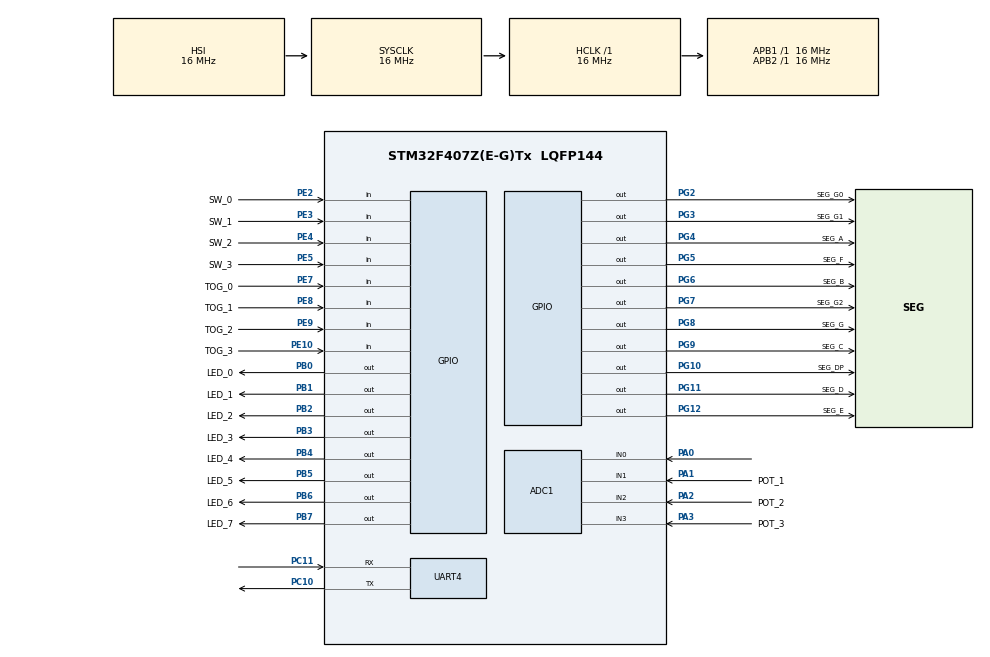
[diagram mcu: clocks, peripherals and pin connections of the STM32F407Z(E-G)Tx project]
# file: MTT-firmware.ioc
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ADC1.Channel-0\#ChannelRegularConversion=ADC_CHANNEL_0
ADC1.Channel-1\#ChannelRegularConversion=ADC_CHANNEL_1
ADC1.Channel-2\#ChannelRegularConversion=ADC_CHANNEL_2
ADC1.Channel-3\#ChannelRegularConversion=ADC_CHANNEL_3
ADC1.NbrOfConversion=4
ADC1.NbrOfConversionFlag=1
ADC1.Rank-0\#ChannelRegularConversion=1
ADC1.Rank-1\#ChannelRegularConversion=2
ADC1.Rank-2\#ChannelRegularConversion=3
ADC1.Rank-3\#ChannelRegularConversion=4
ADC1.SamplingTime-0\#ChannelRegularConversion=ADC_SAMPLETIME_3CYCLES
ADC1.SamplingTime-1\#ChannelRegularConversion=ADC_SAMPLETIME_3CYCLES
ADC1.SamplingTime-2\#ChannelRegularConversion=ADC_SAMPLETIME_3CYCLES
ADC1.SamplingTime-3\#ChannelRegularConversion=ADC_SAMPLETIME_3CYCLES
ADC1.ScanConvMode=ENABLE
ADC1.master=1
Dma.ADC1.0.Direction=DMA_PERIPH_TO_MEMORY
Dma.ADC1.0.FIFOMode=DMA_FIFOMODE_DISABLE
Dma.ADC1.0.Instance=DMA2_Stream0
Dma.ADC1.0.MemDataAlignment=DMA_MDATAALIGN_HALFWORD
Dma.ADC1.0.MemInc=DMA_MINC_ENABLE
Dma.ADC1.0.Mode=DMA_NORMAL
Dma.ADC1.0.PeriphDataAlignment=DMA_PDATAALIGN_HALFWORD
Dma.ADC1.0.PeriphInc=DMA_PINC_DISABLE
Dma.ADC1.0.Priority=DMA_PRIORITY_LOW
Dma.Request0=ADC1
Mcu.Family=STM32F4
Mcu.Name=STM32F407Z(E-G)Tx
Mcu.Package=LQFP144
NVIC.DMA2_Stream0_IRQn=true\:0\:0\:false\:false\:true\:false\:true\:true
NVIC.PriorityGroup=NVIC_PRIORITYGROUP_4
NVIC.UART4_IRQn=true\:0\:0\:false\:false\:true\:true\:true\:true
PA0-WKUP.Signal=ADCx_IN0
PA1.GPIO_Label=POT_1
PA1.Signal=ADCx_IN1
PA13.Mode=Serial_Wire
PA13.Signal=SYS_JTMS-SWDIO
PA14.Mode=Serial_Wire
PA14.Signal=SYS_JTCK-SWCLK
PA2.GPIO_Label=POT_2
PA2.Signal=ADCx_IN2
PA3.GPIO_Label=POT_3
PA3.Signal=ADCx_IN3
PB0.GPIO_Label=LED_0
PB0.Signal=GPIO_Output
PB1.GPIO_Label=LED_1
PB1.Signal=GPIO_Output
PB2.GPIO_Label=LED_2
PB2.Signal=GPIO_Output
PB3.GPIO_Label=LED_3
PB3.Signal=GPIO_Output
PB4.GPIO_Label=LED_4
PB4.Signal=GPIO_Output
PB5.GPIO_Label=LED_5
PB5.Signal=GPIO_Output
PB6.GPIO_Label=LED_6
PB6.Signal=GPIO_Output
PB7.GPIO_Label=LED_7
PB7.Signal=GPIO_Output
PC10.Mode=Asynchronous
PC10.Signal=UART4_TX
PC11.Mode=Asynchronous
PC11.Signal=UART4_RX
PE10.GPIO_Label=TOG_3
PE10.Signal=GPIO_Input
PE2.GPIO_Label=SW_0
PE2.GPIO_PuPd=GPIO_NOPULL
PE2.Signal=GPIO_Input
PE3.GPIO_Label=SW_1
PE3.Signal=GPIO_Input
PE4.GPIO_Label=SW_2
PE4.Signal=GPIO_Input
PE5.GPIO_Label=SW_3
PE5.Signal=GPIO_Input
PE7.GPIO_Label=TOG_0
PE7.Signal=GPIO_Input
PE8.GPIO_Label=TOG_1
PE8.Signal=GPIO_Input
PE9.GPIO_Label=TOG_2
PE9.Signal=GPIO_Input
PG10.GPIO_Label=SEG_DP
PG10.Signal=GPIO_Output
PG11.GPIO_Label=SEG_D
PG11.Signal=GPIO_Output
PG12.GPIO_Label=SEG_E
PG12.Signal=GPIO_Output
PG2.GPIO_Label=SEG_G0
PG2.Signal=GPIO_Output
PG3.GPIO_Label=SEG_G1
PG3.Signal=GPIO_Output
PG4.GPIO_Label=SEG_A
PG4.Signal=GPIO_Output
PG5.GPIO_Label=SEG_F
PG5.Signal=GPIO_Output
PG6.GPIO_Label=SEG_B
PG6.Signal=GPIO_Output
PG7.GPIO_Label=SEG_G2
PG7.Signal=GPIO_Output
PG8.GPIO_Label=SEG_G
PG8.Signal=GPIO_Output
PG9.GPIO_Label=SEG_C
PG9.Signal=GPIO_Output
PH0-OSC_IN.Mode=HSE-External-Oscillator
PH0-OSC_IN.Signal=RCC_OSC_IN
PH1-OSC_OUT.Mode=HSE-External-Oscillator
PH1-OSC_OUT.Signal=RCC_OSC_OUT
ProjectManager.HeapSize=0x200
ProjectManager.StackSize=0x400
ProjectManager.TargetToolchain=STM32CubeIDE
RCC.AHBFreq_Value=16000000
RCC.APB1Freq_Value=16000000
RCC.APB2Freq_Value=16000000
RCC.CortexFreq_Value=16000000
RCC.HSE_VALUE=25000000
RCC.HSI_VALUE=16000000
RCC.LSE_VALUE=32768
RCC.SYSCLKFreq_VALUE=16000000
RCC.VCOOutputFreq_Value=192000000
SH.ADCx_IN0.0=ADC1_IN0,IN0
SH.ADCx_IN0.1=ADC3_IN0
SH.ADCx_IN1.0=ADC1_IN1,IN1
SH.ADCx_IN2.0=ADC1_IN2,IN2
SH.ADCx_IN3.0=ADC1_IN3,IN3
UART4.VirtualMode=Asynchronous
board=custom

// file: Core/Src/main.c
/* USER CODE BEGIN Header */
/**
  ******************************************************************************
  * @file           : main.c
  * @brief          : Main program body
  ******************************************************************************
  * @attention
  *
  * Copyright (c) 2023 STMicroelectronics.
  * All rights reserved.
  *
  * This software is licensed under terms that can be found in the LICENSE file
  * in the root directory of this software component.
  * If no LICENSE file comes with this software, it is provided AS-IS.
  *
  ******************************************************************************
  */
/* USER CODE END Header */
#include "main.h"

/* USER CODE BEGIN Includes */
#include <string.h>
#include <stdio.h>
#include <stdbool.h>
/* USER CODE END Includes */

/* USER CODE BEGIN PTD */
typedef enum {
    WAITING_FOR_HEADER,
	WAITING_FOR_DATA,
    RESPONDING
} fsm;
/* USER CODE END PTD */

/* USER CODE BEGIN PD */
#define DATA_LEN 3
/* USER CODE END PD */

ADC_HandleTypeDef hadc1;
DMA_HandleTypeDef hdma_adc1;

UART_HandleTypeDef huart4;

/* USER CODE BEGIN PV */
volatile uint16_t pot_values[4];
volatile bool switch_states[8];
volatile bool LED_states[8];
volatile bool SEG_states[11];
const uint8_t adcChannelCount = 4;
const uint8_t header = 0xaa;
uint8_t UART4_rxBuffer[DATA_LEN] = {0};
char message[] = "Transmission\r\n"; /* Message to be transmitted through UART */

fsm state = WAITING_FOR_HEADER;

uint8_t cmd_id = 0x00;

/* USER CODE END PV */

void SystemClock_Config(void);
static void MX_GPIO_Init(void);
static void MX_DMA_Init(void);
static void MX_ADC1_Init(void);
static void MX_UART4_Init(void);

int main(void)
{

  /* MCU Configuration--------------------------------------------------------*/

  /* Reset of all peripherals, Initializes the Flash interface and the Systick. */
  HAL_Init();

  /* Configure the system clock */
  SystemClock_Config();

  /* Initialize all configured peripherals */
  MX_GPIO_Init();
  MX_DMA_Init();
  MX_ADC1_Init();
  MX_UART4_Init();
  /* USER CODE BEGIN 2 */
  HAL_UART_Transmit(&huart4, (uint8_t *)message, strlen(message), 10);
  HAL_UART_Receive_IT(&huart4, UART4_rxBuffer, 1);
  /* USER CODE END 2 */

  /* Infinite loop */
  /* USER CODE BEGIN WHILE */
  while (1)
  {
	HAL_ADC_Start_DMA(&hadc1, (uint32_t *)pot_values, adcChannelCount);
	// Get toggle states
	switch_states[0] = HAL_GPIO_ReadPin(TOG_0_GPIO_Port, TOG_0_Pin);
	switch_states[1] = HAL_GPIO_ReadPin(TOG_1_GPIO_Port, TOG_1_Pin);
	switch_states[2] = HAL_GPIO_ReadPin(TOG_2_GPIO_Port, TOG_2_Pin);
	switch_states[3] = HAL_GPIO_ReadPin(TOG_3_GPIO_Port, TOG_3_Pin);
	// Get button states (inverted because normally high)
	switch_states[4] = !HAL_GPIO_ReadPin(SW_0_GPIO_Port, SW_0_Pin);
	switch_states[5] = !HAL_GPIO_ReadPin(SW_1_GPIO_Port, SW_1_Pin);
	switch_states[6] = !HAL_GPIO_ReadPin(SW_2_GPIO_Port, SW_2_Pin);
	switch_states[7] = !HAL_GPIO_ReadPin(SW_3_GPIO_Port, SW_3_Pin);
	// Update LED states
	HAL_GPIO_WritePin(LED_0_GPIO_Port, LED_0_Pin, LED_states[0]);
	HAL_GPIO_WritePin(LED_1_GPIO_Port, LED_1_Pin, LED_states[1]);
	HAL_GPIO_WritePin(LED_2_GPIO_Port, LED_2_Pin, LED_states[2]);
	HAL_GPIO_WritePin(LED_3_GPIO_Port, LED_3_Pin, LED_states[3]);
	HAL_GPIO_WritePin(LED_4_GPIO_Port, LED_4_Pin, LED_states[4]);
	HAL_GPIO_WritePin(LED_5_GPIO_Port, LED_5_Pin, LED_states[5]);
	HAL_GPIO_WritePin(LED_6_GPIO_Port, LED_6_Pin, LED_states[6]);
	HAL_GPIO_WritePin(LED_7_GPIO_Port, LED_7_Pin, LED_states[7]);
	// Update Segment Display states
	HAL_GPIO_WritePin(SEG_G0_GPIO_Port, SEG_G0_Pin, SEG_states[0]);
	HAL_GPIO_WritePin(SEG_G1_GPIO_Port, SEG_G1_Pin, SEG_states[1]);
	HAL_GPIO_WritePin(SEG_G2_GPIO_Port, SEG_G2_Pin, SEG_states[2]);
	HAL_GPIO_WritePin(SEG_A_GPIO_Port, SEG_A_Pin, SEG_states[3]);
	HAL_GPIO_WritePin(SEG_B_GPIO_Port, SEG_B_Pin, SEG_states[4]);
	HAL_GPIO_WritePin(SEG_C_GPIO_Port, SEG_C_Pin, SEG_states[5]);
	HAL_GPIO_WritePin(SEG_D_GPIO_Port, SEG_D_Pin, SEG_states[6]);
	HAL_GPIO_WritePin(SEG_E_GPIO_Port, SEG_E_Pin, SEG_states[7]);
	HAL_GPIO_WritePin(SEG_F_GPIO_Port, SEG_F_Pin, SEG_states[8]);
	HAL_GPIO_WritePin(SEG_G_GPIO_Port, SEG_G_Pin, SEG_states[9]);
	HAL_GPIO_WritePin(SEG_DP_GPIO_Port, SEG_DP_Pin, SEG_states[10]);
	// Test transmit
	// sprintf(buffer, "P0=%d\tP1=%d\tP2=%d\tP3=%d\t", potValues[0], potValues[1], potValues[2], potValues[3]);
	// HAL_UART_Transmit(&huart4, (uint8_t *)buffer, strlen(buffer), 10);
	// sprintf(buffer, "T0=%d\tT1=%d\tT2=%d\tT3=%d\t", toggleStates[0], toggleStates[1], toggleStates[2], toggleStates[3]);
	// HAL_UART_Transmit(&huart4, (uint8_t *)buffer, strlen(buffer), 10);
	// sprintf(buffer, "B0=%d\tB1=%d\tB2=%d\tB3=%d\r\n", buttonStates[0], buttonStates[1], buttonStates[2], buttonStates[3]);
	// HAL_UART_Transmit(&huart4, (uint8_t *)buffer, strlen(buffer), 10);
//	HAL_UART_Transmit(&huart4, (uint8_t *)&header, sizeof(header), 10);
//	HAL_UART_Transmit(&huart4, (uint8_t *)&potValues, sizeof(potValues), 10);
//	HAL_UART_Transmit(&huart4, (uint8_t *)&toggleStates, sizeof(toggleStates), 10);
//	HAL_UART_Transmit(&huart4, (uint8_t *)&buttonStates, sizeof(buttonStates), 10);

	switch(state) {
	case RESPONDING: // handle command
		// handle received data
		for (int i = 7; i >= 0; i--) {
			LED_states[i] = (UART4_rxBuffer[0] >> i) & 1;
		}
		for (int i = 7; i >= 0; i--) {
			SEG_states[i] = (UART4_rxBuffer[1] >> i) & 1;
		}
		for (int i = 2; i >= 0; i--) {
			SEG_states[i+8] = (UART4_rxBuffer[2] >> i) & 1;
		}
		// convert switch bools to unit8_t
		uint8_t switch_states_uint8 = 0;
		for (int i = 0; i < 8; i++) {
			if (switch_states[i]) {
				switch_states_uint8 |= (1 << i);
			}
		}
		// send reply
		HAL_UART_Transmit(&huart4, (uint8_t *)&header, sizeof(header), 10);
		HAL_UART_Transmit(&huart4, (uint8_t *)&pot_values, sizeof(pot_values), 10);
		HAL_UART_Transmit(&huart4, (uint8_t *)&switch_states_uint8, sizeof(switch_states_uint8), 10);
		// enable Rx callback
		state = WAITING_FOR_HEADER;
		HAL_UART_Receive_IT(&huart4, UART4_rxBuffer, 1);
		break;
	default:
		break;
	}
    /* USER CODE END WHILE */

  }
}

void SystemClock_Config(void)
{
  RCC_OscInitTypeDef RCC_OscInitStruct = {0};
  RCC_ClkInitTypeDef RCC_ClkInitStruct = {0};

  /** Configure the main internal regulator output voltage
  */
  __HAL_RCC_PWR_CLK_ENABLE();
  __HAL_PWR_VOLTAGESCALING_CONFIG(PWR_REGULATOR_VOLTAGE_SCALE1);

  /** Initializes the RCC Oscillators according to the specified parameters
  * in the RCC_OscInitTypeDef structure.
  */
  RCC_OscInitStruct.OscillatorType = RCC_OSCILLATORTYPE_HSI;
  RCC_OscInitStruct.HSIState = RCC_HSI_ON;
  RCC_OscInitStruct.HSICalibrationValue = RCC_HSICALIBRATION_DEFAULT;
  RCC_OscInitStruct.PLL.PLLState = RCC_PLL_NONE;
  if (HAL_RCC_OscConfig(&RCC_OscInitStruct) != HAL_OK)
  {
    Error_Handler();
  }

  /** Initializes the CPU, AHB and APB buses clocks
  */
  RCC_ClkInitStruct.ClockType = RCC_CLOCKTYPE_HCLK|RCC_CLOCKTYPE_SYSCLK
                              |RCC_CLOCKTYPE_PCLK1|RCC_CLOCKTYPE_PCLK2;
  RCC_ClkInitStruct.SYSCLKSource = RCC_SYSCLKSOURCE_HSI;
  RCC_ClkInitStruct.AHBCLKDivider = RCC_SYSCLK_DIV1;
  RCC_ClkInitStruct.APB1CLKDivider = RCC_HCLK_DIV1;
  RCC_ClkInitStruct.APB2CLKDivider = RCC_HCLK_DIV1;

  if (HAL_RCC_ClockConfig(&RCC_ClkInitStruct, FLASH_LATENCY_0) != HAL_OK)
  {
    Error_Handler();
  }
}

static void MX_ADC1_Init(void)
{

  ADC_ChannelConfTypeDef sConfig = {0};

  /** Configure the global features of the ADC (Clock, Resolution, Data Alignment and number of conversion)
  */
  hadc1.Instance = ADC1;
  hadc1.Init.ClockPrescaler = ADC_CLOCK_SYNC_PCLK_DIV2;
  hadc1.Init.Resolution = ADC_RESOLUTION_12B;
  hadc1.Init.ScanConvMode = ENABLE;
  hadc1.Init.ContinuousConvMode = DISABLE;
  hadc1.Init.DiscontinuousConvMode = DISABLE;
  hadc1.Init.ExternalTrigConvEdge = ADC_EXTERNALTRIGCONVEDGE_NONE;
  hadc1.Init.ExternalTrigConv = ADC_SOFTWARE_START;
  hadc1.Init.DataAlign = ADC_DATAALIGN_RIGHT;
  hadc1.Init.NbrOfConversion = 4;
  hadc1.Init.DMAContinuousRequests = DISABLE;
  hadc1.Init.EOCSelection = ADC_EOC_SINGLE_CONV;
  if (HAL_ADC_Init(&hadc1) != HAL_OK)
  {
    Error_Handler();
  }

  /** Configure for the selected ADC regular channel its corresponding rank in the sequencer and its sample time.
  */
  sConfig.Channel = ADC_CHANNEL_0;
  sConfig.Rank = 1;
  sConfig.SamplingTime = ADC_SAMPLETIME_3CYCLES;
  if (HAL_ADC_ConfigChannel(&hadc1, &sConfig) != HAL_OK)
  {
    Error_Handler();
  }

  /** Configure for the selected ADC regular channel its corresponding rank in the sequencer and its sample time.
  */
  sConfig.Channel = ADC_CHANNEL_1;
  sConfig.Rank = 2;
  if (HAL_ADC_ConfigChannel(&hadc1, &sConfig) != HAL_OK)
  {
    Error_Handler();
  }

  /** Configure for the selected ADC regular channel its corresponding rank in the sequencer and its sample time.
  */
  sConfig.Channel = ADC_CHANNEL_2;
  sConfig.Rank = 3;
  if (HAL_ADC_ConfigChannel(&hadc1, &sConfig) != HAL_OK)
  {
    Error_Handler();
  }

  /** Configure for the selected ADC regular channel its corresponding rank in the sequencer and its sample time.
  */
  sConfig.Channel = ADC_CHANNEL_3;
  sConfig.Rank = 4;
  if (HAL_ADC_ConfigChannel(&hadc1, &sConfig) != HAL_OK)
  {
    Error_Handler();
  }

}

static void MX_UART4_Init(void)
{

  huart4.Instance = UART4;
  huart4.Init.BaudRate = 115200;
  huart4.Init.WordLength = UART_WORDLENGTH_8B;
  huart4.Init.StopBits = UART_STOPBITS_1;
  huart4.Init.Parity = UART_PARITY_NONE;
  huart4.Init.Mode = UART_MODE_TX_RX;
  huart4.Init.HwFlowCtl = UART_HWCONTROL_NONE;
  huart4.Init.OverSampling = UART_OVERSAMPLING_16;
  if (HAL_UART_Init(&huart4) != HAL_OK)
  {
    Error_Handler();
  }

}

static void MX_DMA_Init(void)
{

  /* DMA controller clock enable */
  __HAL_RCC_DMA2_CLK_ENABLE();

  /* DMA interrupt init */
  /* DMA2_Stream0_IRQn interrupt configuration */
  HAL_NVIC_SetPriority(DMA2_Stream0_IRQn, 0, 0);
  HAL_NVIC_EnableIRQ(DMA2_Stream0_IRQn);

}

static void MX_GPIO_Init(void)
{
  GPIO_InitTypeDef GPIO_InitStruct = {0};

  /* GPIO Ports Clock Enable */
  __HAL_RCC_GPIOE_CLK_ENABLE();
  __HAL_RCC_GPIOH_CLK_ENABLE();
  __HAL_RCC_GPIOA_CLK_ENABLE();
  __HAL_RCC_GPIOB_CLK_ENABLE();
  __HAL_RCC_GPIOG_CLK_ENABLE();
  __HAL_RCC_GPIOC_CLK_ENABLE();

  /*Configure GPIO pin Output Level */
  HAL_GPIO_WritePin(GPIOB, LED_0_Pin|LED_1_Pin|LED_2_Pin|LED_3_Pin
                          |LED_4_Pin|LED_5_Pin|LED_6_Pin|LED_7_Pin, GPIO_PIN_RESET);

  /*Configure GPIO pin Output Level */
  HAL_GPIO_WritePin(GPIOG, SEG_G0_Pin|SEG_G1_Pin|SEG_A_Pin|SEG_F_Pin
                          |SEG_B_Pin|SEG_G2_Pin|SEG_G_Pin|SEG_C_Pin
                          |SEG_DP_Pin|SEG_D_Pin|SEG_E_Pin, GPIO_PIN_RESET);

  /*Configure GPIO pins : SW_0_Pin SW_1_Pin SW_2_Pin SW_3_Pin
                           TOG_0_Pin TOG_1_Pin TOG_2_Pin TOG_3_Pin */
  GPIO_InitStruct.Pin = SW_0_Pin|SW_1_Pin|SW_2_Pin|SW_3_Pin
                          |TOG_0_Pin|TOG_1_Pin|TOG_2_Pin|TOG_3_Pin;
  GPIO_InitStruct.Mode = GPIO_MODE_INPUT;
  GPIO_InitStruct.Pull = GPIO_NOPULL;
  HAL_GPIO_Init(GPIOE, &GPIO_InitStruct);

  /*Configure GPIO pin : PA0 */
  GPIO_InitStruct.Pin = GPIO_PIN_0;
  GPIO_InitStruct.Mode = GPIO_MODE_ANALOG;
  GPIO_InitStruct.Pull = GPIO_NOPULL;
  HAL_GPIO_Init(GPIOA, &GPIO_InitStruct);

  /*Configure GPIO pins : LED_0_Pin LED_1_Pin LED_2_Pin LED_3_Pin
                           LED_4_Pin LED_5_Pin LED_6_Pin LED_7_Pin */
  GPIO_InitStruct.Pin = LED_0_Pin|LED_1_Pin|LED_2_Pin|LED_3_Pin
                          |LED_4_Pin|LED_5_Pin|LED_6_Pin|LED_7_Pin;
  GPIO_InitStruct.Mode = GPIO_MODE_OUTPUT_PP;
  GPIO_InitStruct.Pull = GPIO_NOPULL;
  GPIO_InitStruct.Speed = GPIO_SPEED_FREQ_LOW;
  HAL_GPIO_Init(GPIOB, &GPIO_InitStruct);

  /*Configure GPIO pins : SEG_G0_Pin SEG_G1_Pin SEG_A_Pin SEG_F_Pin
                           SEG_B_Pin SEG_G2_Pin SEG_G_Pin SEG_C_Pin
                           SEG_DP_Pin SEG_D_Pin SEG_E_Pin */
  GPIO_InitStruct.Pin = SEG_G0_Pin|SEG_G1_Pin|SEG_A_Pin|SEG_F_Pin
                          |SEG_B_Pin|SEG_G2_Pin|SEG_G_Pin|SEG_C_Pin
                          |SEG_DP_Pin|SEG_D_Pin|SEG_E_Pin;
  GPIO_InitStruct.Mode = GPIO_MODE_OUTPUT_PP;
  GPIO_InitStruct.Pull = GPIO_NOPULL;
  GPIO_InitStruct.Speed = GPIO_SPEED_FREQ_LOW;
  HAL_GPIO_Init(GPIOG, &GPIO_InitStruct);

}

/* USER CODE BEGIN 4 */
void HAL_UART_RxCpltCallback(UART_HandleTypeDef *huart)
{
	switch(state) {
	case WAITING_FOR_HEADER:
		// check for recognised header byte
		switch(UART4_rxBuffer[0]) {
		case 0xaa: // recognised header
			cmd_id = UART4_rxBuffer[0];
			HAL_UART_Receive_IT(&huart4, UART4_rxBuffer, DATA_LEN); // now wait for data
			state = WAITING_FOR_DATA;
			break;
		default: // no recognised header, wait for next byte
			HAL_UART_Receive_IT(&huart4, UART4_rxBuffer, 1);
			break;
		}
		break;
	case WAITING_FOR_DATA: // data received... handle and reply
		state = RESPONDING;
		break;
	default:
		break;
	}
}
/* USER CODE END 4 */

void Error_Handler(void)
{
  __disable_irq();
  while (1)
  {
  }
}
